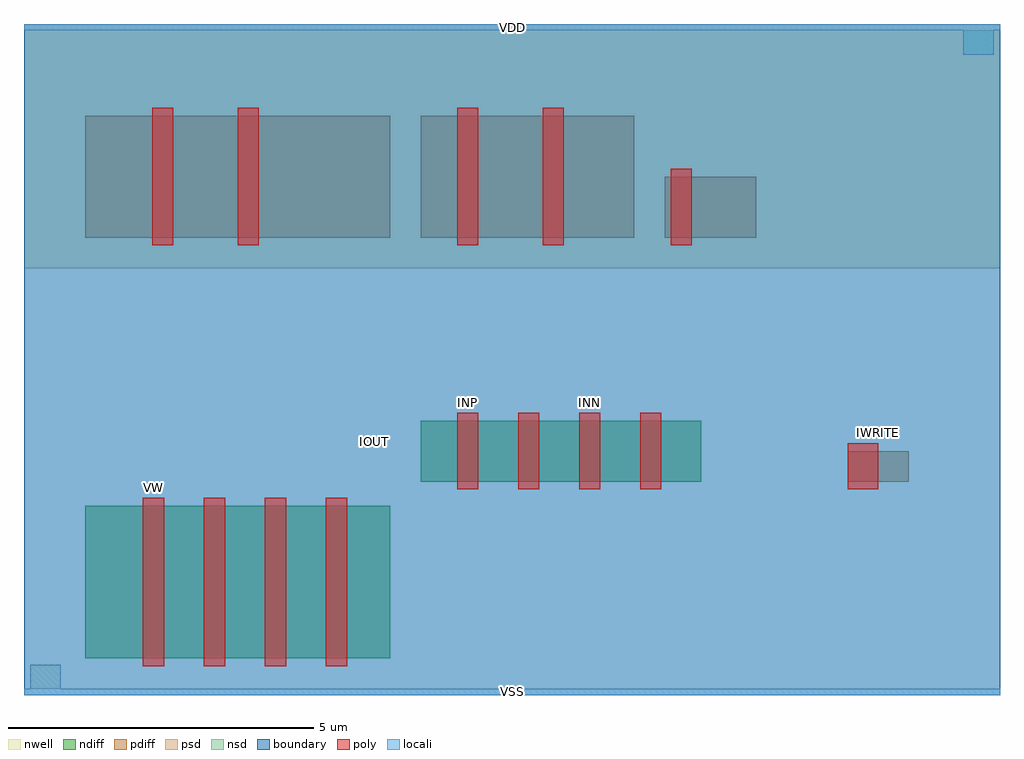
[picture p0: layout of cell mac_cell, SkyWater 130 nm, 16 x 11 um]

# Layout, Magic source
magic
tech sky130A
magscale 1 2
<< boundary >>
rect 0 0 3200 2200
<< nwell >>
rect 0 1400 3200 2200
<< psd >>
rect 20 20 120 100
<< nsd >>
rect 3080 2100 3180 2180
<< ndiff >>
rect 200 120 1200 620
rect 1300 700 2220 900
<< pdiff >>
rect 200 1500 1200 1900
rect 1300 1500 2000 1900
rect 2100 1500 2400 1700
rect 2700 700 2900 800
<< poly >>
rect 390 94 460 646
rect 590 94 660 646
rect 790 94 860 646
rect 990 94 1060 646
rect 1420 674 1490 926
rect 1620 674 1690 926
rect 1820 674 1890 926
rect 2020 674 2090 926
rect 420 1474 490 1926
rect 700 1474 770 1926
rect 1420 1474 1490 1926
rect 1700 1474 1770 1926
rect 2120 1474 2190 1726
rect 2700 674 2800 826
<< locali >>
rect 0 0 3200 20
rect 0 2180 3200 2200
rect 20 20 120 100
rect 3080 2100 3180 2180
<< labels >>
rlabel locali s 0 0 3200 20 1 VSS
rlabel locali s 0 2180 3200 2200 3 VDD
rlabel ndiff s 1100 780 1200 880 1 IOUT
rlabel poly s 1420 940 1490 980 3 INP
rlabel poly s 1820 940 1890 980 3 INN
rlabel poly s 390 660 460 700 3 VW
rlabel locali s 2700 840 2900 880 1 IWRITE
rlabel poly s 2700 840 2800 880 3 WE
rlabel locali s 0 2180 3200 2200 3 VDD
<< end >>
